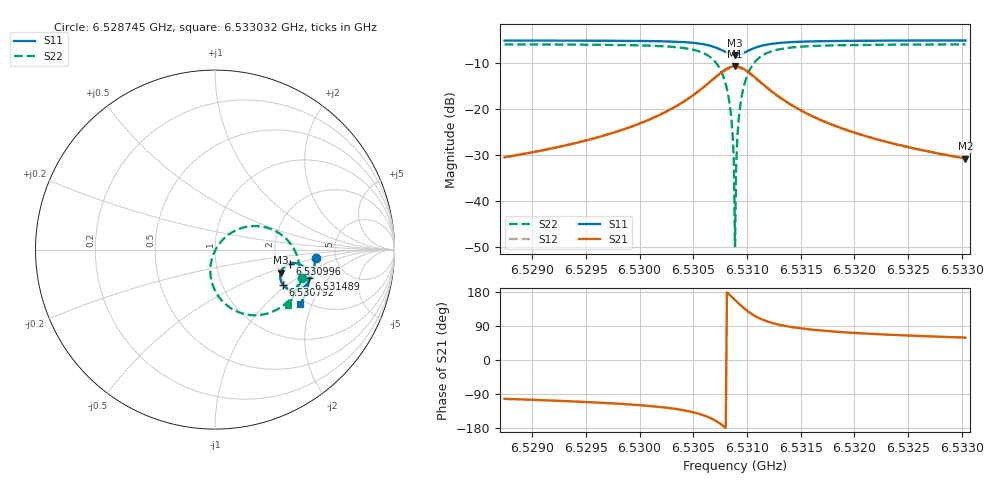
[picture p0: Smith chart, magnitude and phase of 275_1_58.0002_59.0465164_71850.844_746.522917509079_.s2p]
#  HZ  S  RI  R  50.00
! Rohde & Schwarz Vector Network Analyzer
! Rohde-Schwarz,ZNB20-2Port,1311601062101988,3.16
! Created: UTC 3/21/2024, 1:02:38 AM
! freq[Hz]  re:S11  im:S11  re:S21  im:S21  re:S12  im:S12  re:S22  im:S22
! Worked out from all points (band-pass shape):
!   401 points, 6.528745 GHz to 6.533032 GHz, reference 50 ohm
!   highest |S21| = -10.62 dB at 6.530888 GHz (marker M1); lowest = -30.8 dB at 6.533032 GHz (marker M2)
!   |S21| within 3 dB of the highest: 6.530674 GHz to 6.531103 GHz (428.9 kHz wide, 0.00657 % of centre)
!   lowest |S11| = -8.2 dB at 6.530888 GHz (marker M3), VSWR 2.27, Z = 102 - j30.9 ohm
!   |S11| at or under -10 dB: nowhere
!   |S22| runs from -49.9 to -5.8 dB; largest |S21 - S12| = 0.011
!   S11 on the Smith chart (normalised r, x): 6.528745 GHz: 3.50, -0.47; 6.530792 GHz: 1.93, -0.92; 6.530996 GHz: 2.38, -0.45; 6.531489 GHz: 2.76, -1.26; 6.533032 GHz: 1.86, -1.65
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6.5287447e9  0.56 -0.0459  -0.00638 -0.0291  -0.00703 -0.029  0.485 -0.1602
6.5294628e9  0.5508 -0.1052  -0.0155 -0.0417  -0.0164 -0.0414  0.4549 -0.2248
6.5301809e9  0.5242 -0.1757  -0.0477 -0.0716  -0.0496 -0.0701  0.376 -0.3144
6.5306097e9  0.456 -0.2261  -0.1513 -0.0969  -0.1536 -0.091  0.1774 -0.3615
6.5307168e9  0.4125 -0.2219  -0.2183 -0.0717  -0.2177 -0.0628  0.0642 -0.3087
6.5307919e9  0.3785 -0.1959  -0.2678 -0.0156  -0.2625 -0.00615  -0.00964 -0.2059
6.530824e9  0.368 -0.1766  -0.2811 0.0215  -0.2735 0.03  -0.0248 -0.1424
6.5308454e9  0.3642 -0.1616  -0.2843 0.0497  -0.2755 0.0566  -0.0252 -0.0956
6.5308562e9  0.3635 -0.1536  -0.2839 0.0642  -0.2744 0.0705  -0.022 -0.0718
6.5308669e9  0.3635 -0.1455  -0.282 0.0789  -0.2722 0.0843  -0.0165 -0.0482
6.5308776e9  0.3646 -0.1374  -0.2787 0.0934  -0.2687 0.098  -0.00834 -0.0249
6.5308883e9  0.3664 -0.1292  -0.274 0.1076  -0.2637 0.1113  0.00197 -0.00251
6.5309098e9  0.3727 -0.1141  -0.2605 0.1344  -0.2502 0.1362  0.0289 0.0387
6.5309205e9  0.3769 -0.1072  -0.2518 0.1464  -0.2419 0.1474  0.045 0.0569
6.5309419e9  0.3874 -0.0952  -0.2318 0.1674  -0.2225 0.1669  0.0814 0.0875
6.5309955e9  0.4189 -0.0775  -0.1738 0.1983  -0.1673 0.1957  0.1819 0.1281
6.5310598e9  0.4552 -0.0762  -0.1103 0.2022  -0.1068 0.1994  0.2882 0.1224
6.5311563e9  0.4913 -0.0941  -0.0484 0.1779  -0.0466 0.176  0.389 0.0671
6.5314885e9  0.5219 -0.1609  0.0108 0.0984  0.0117 0.0981  0.471 -0.0978
6.5316064e9  0.5219 -0.1777  0.0147 0.0828  0.0157 0.0825  0.4718 -0.1322
6.5323245e9  0.5028 -0.2499  0.017 0.0397  0.0177 0.0394  0.4432 -0.2463
6.5330319e9  0.476 -0.3024  0.0149 0.0247  0.0154 0.0247  0.4079 -0.3064
